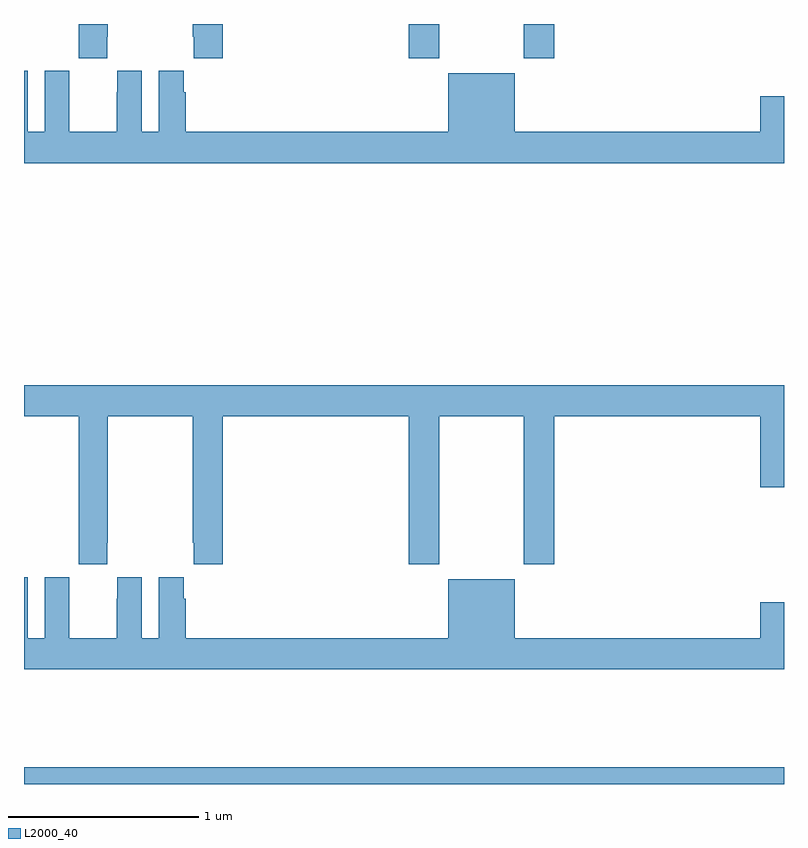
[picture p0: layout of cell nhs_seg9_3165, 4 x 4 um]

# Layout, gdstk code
import gdstk
lib = gdstk.Library(unit=1e-6, precision=1e-09)
def R(c, l, rs):  # rectangles x0, y0, x1, y1
    for r in rs: c.add(gdstk.rectangle(r[:2], r[2:], *l))
def P(c, l, *ps):  # polygons
    for p in ps: c.add(gdstk.Polygon(p, *l))
L2000_40 = (2000, 40)

nhs_seg9_3165 = lib.new_cell('nhs_seg9_3165')
R(nhs_seg9_3165, L2000_40, [(293,1178.5,297,1178.588), (295.025,1182.321,295.185,1182.5), (295.63,1182.321,295.79,1182.5)])
P(nhs_seg9_3165, L2000_40, [(294.047,1182.5),(293.887,1182.5),(293.887,1182.433),(293.893,1182.433),(293.893,1182.321),(294.047,1182.321)],
  [(293.439,1182.433),(293.442,1182.433),(293.442,1182.5),(293.287,1182.5),(293.287,1182.433),(293.289,1182.433),(293.289,1182.321),(293.439,1182.321)],
  [(297,1182.121),(296.876,1182.121),(296.876,1181.932),(295.582,1181.932),(295.582,1182.241),(295.232,1182.241),(295.232,1181.932),(293.852,1181.932),(293.852,1182.14),(293.842,1182.14),(293.842,1182.253),(293.708,1182.253),(293.708,1181.932),(293.62,1181.932),(293.62,1182.253),(293.49,1182.253),(293.49,1182.14),(293.489,1182.14),(293.489,1181.932),(293.239,1181.932),(293.239,1182.14),(293.238,1182.14),(293.238,1182.253),(293.108,1182.253),(293.108,1181.932),(293.02,1181.932),(293.02,1182.253),(293,1182.253),(293,1181.768),(297,1181.768)],
  [(293.439,1179.769),(293.442,1179.769),(293.442,1180.436),(293.887,1180.436),(293.887,1179.769),(293.893,1179.769),(293.893,1179.657),(294.047,1179.657),(294.047,1180.436),(295.025,1180.436),(295.025,1179.657),(295.185,1179.657),(295.185,1180.436),(295.63,1180.436),(295.63,1179.657),(295.79,1179.657),(295.79,1180.436),(296.876,1180.436),(296.876,1180.062),(297,1180.062),(297,1180.6),(293,1180.6),(293,1180.436),(293.287,1180.436),(293.287,1179.769),(293.289,1179.769),(293.289,1179.657),(293.439,1179.657)],
  [(297,1179.457),(296.876,1179.457),(296.876,1179.268),(295.582,1179.268),(295.582,1179.577),(295.232,1179.577),(295.232,1179.268),(293.852,1179.268),(293.852,1179.476),(293.842,1179.476),(293.842,1179.589),(293.708,1179.589),(293.708,1179.268),(293.62,1179.268),(293.62,1179.589),(293.49,1179.589),(293.49,1179.476),(293.489,1179.476),(293.489,1179.268),(293.239,1179.268),(293.239,1179.476),(293.238,1179.476),(293.238,1179.589),(293.108,1179.589),(293.108,1179.268),(293.02,1179.268),(293.02,1179.589),(293,1179.589),(293,1179.104),(297,1179.104)])

lib.write_gds('nhs_seg9_3165.gds')
